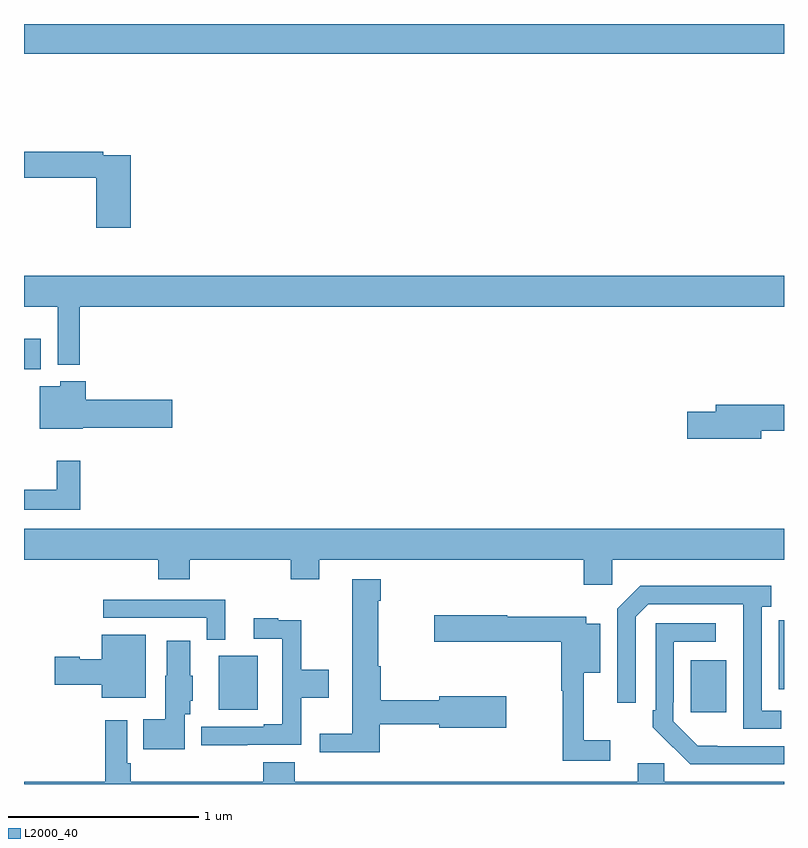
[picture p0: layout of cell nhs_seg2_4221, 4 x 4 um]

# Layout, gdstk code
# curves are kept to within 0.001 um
import gdstk
lib = gdstk.Library(unit=1e-6, precision=1e-09)
def R(c, l, rs):  # rectangles x0, y0, x1, y1
    for r in rs: c.add(gdstk.rectangle(r[:2], r[2:], *l))
def P(c, l, *ps):  # polygons
    for p in ps: c.add(gdstk.Polygon(p, *l))
L2000_40 = (2000, 40)

nhs_seg2_4221 = lib.new_cell('nhs_seg2_4221')
R(nhs_seg2_4221, L2000_40, [(342.509,636.177,342.697,636.451), (340.025,636.191,340.231,636.475), (339,637.982,339.088,638.143), (339,639.644,343,639.8)])
P(nhs_seg2_4221, L2000_40, [(339.563,639.108),(339.416,639.108),(339.416,639.128),(339,639.128),(339,638.992),(339.38,638.992),(339.38,638.727),(339.563,638.727)],
  [(339.293,638.312),(343,638.312),(343,638.476),(339,638.476),(339,638.312),(339.177,638.312),(339.177,638.006),(339.293,638.006)],
  [(339.309,637.676),(339.781,637.676),(339.781,637.823),(339.326,637.823),(339.326,637.921),(339.192,637.921),(339.192,637.894),(339.083,637.894),(339.083,637.67),(339.309,637.67)],
  [(342.88,637.66),(343,637.66),(343,637.796),(342.641,637.796),(342.641,637.76),(342.492,637.76),(342.492,637.618),(342.88,637.618)],
  [(339.295,637.501),(339.173,637.501),(339.173,637.348),(339,637.348),(339,637.244),(339.295,637.244)],
  [(342.096,636.98),(343,636.98),(343,637.144),(339,637.144),(339,636.98),(339.707,636.98),(339.707,636.878),(339.872,636.878),(339.872,636.98),(340.403,636.98),(340.403,636.878),(340.555,636.878),(340.555,636.98),(341.945,636.98),(341.945,636.849),(342.096,636.849)],
  [(340.872,636.114),(341.186,636.114),(341.186,636.095),(341.539,636.095),(341.539,636.261),(341.186,636.261),(341.186,636.242),(340.877,636.242),(340.877,636.419),(340.864,636.419),(340.864,636.764),(340.877,636.764),(340.877,636.877),(340.727,636.877),(340.727,636.065),(340.557,636.065),(340.557,635.966),(340.872,635.966)],
  [(342.985,636.186),(342.882,636.186),(342.882,636.734),(342.934,636.734),(342.934,636.844),(342.244,636.844),(342.123,636.723),(342.123,636.228),(342.219,636.228),(342.219,636.681),(342.285,636.747),(342.785,636.747),(342.786,636.09),(342.985,636.09)],
  [(340.06,636.771),(339.417,636.771),(339.417,636.675),(339.963,636.675),(339.963,636.56),(340.06,636.56)],
  [(342.085,636.031),(341.945,636.031),(341.945,636.386),(342.034,636.386),(342.034,636.643),(341.958,636.643),(341.958,636.679),(341.544,636.679),(341.544,636.687),(341.16,636.687),(341.16,636.55),(341.827,636.55),(341.827,636.29),(341.835,636.29),(341.835,635.922),(342.085,635.922)],
  [(340.175,636.006),(340.46,636.006),(340.46,636.254),(340.603,636.254),(340.603,636.402),(340.46,636.402),(340.46,636.662),(340.337,636.662),(340.337,636.673),(340.209,636.673),(340.209,636.564),(340.359,636.564),(340.359,636.115),(340.262,636.115),(340.262,636.102),(339.933,636.102),(339.933,636.005),(340.175,636.005)],
  [(343,636.663),(342.973,636.663),(342.973,636.554),(342.972,636.554),(342.972,636.3),(343,636.3)],
  [(343,636),(342.546,636.001),(342.417,636.129),(342.417,636.229),(342.42,636.229),(342.42,636.549),(342.64,636.549),(342.64,636.645),(342.324,636.645),(342.324,636.187),(342.309,636.187),(342.309,636.099),(342.506,635.904),(343,635.904)],
  [(339.64,636.586),(339.41,636.586),(339.41,636.457),(339.294,636.457),(339.294,636.47),(339.162,636.47),(339.162,636.323),(339.41,636.323),(339.41,636.254),(339.64,636.254)],
  [(339.847,636.168),(339.874,636.168),(339.874,636.237),(339.889,636.237),(339.889,636.369),(339.874,636.369),(339.874,636.553),(339.752,636.553),(339.752,636.369),(339.743,636.369),(339.743,636.142),(339.628,636.142),(339.628,635.984),(339.847,635.984)],
  [(343,635.812),(342.369,635.812),(342.369,635.91),(342.23,635.91),(342.23,635.812),(340.424,635.812),(340.424,635.914),(340.259,635.914),(340.259,635.812),(339.563,635.812),(339.563,635.908),(339.543,635.908),(339.543,636.136),(339.427,636.136),(339.427,635.812),(339,635.812),(339,635.8),(343,635.8)])

lib.write_gds('nhs_seg2_4221.gds')
